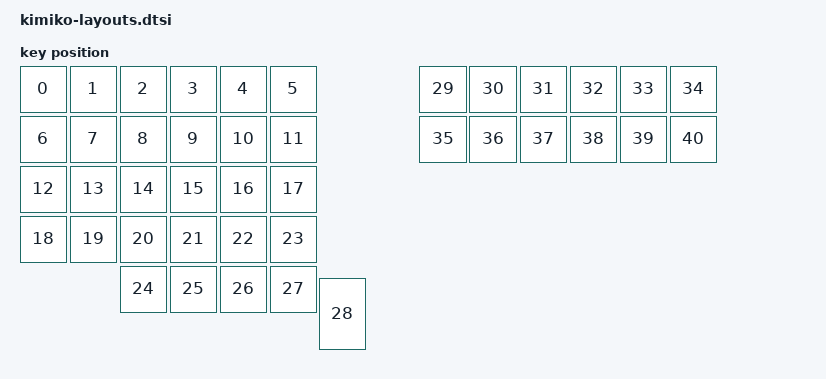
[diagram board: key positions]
#include <physical_layouts.dtsi>

/ {
    default_layout: default_layout {
        compatible = "zmk,physical-layout";
        display-name = "Kimiko Default";
        transform = <&default_transform>;
        kscan = <&kscan>;

        keys
        =
        // Left half
        <&key_physical_attrs 100 100  0    0     0 0 0>,  // 0,0
        <&key_physical_attrs 100 100  100  0     0 0 0>,  // 0,1
        <&key_physical_attrs 100 100  200  0     0 0 0>,  // 0,2
        <&key_physical_attrs 100 100  300  0     0 0 0>,  // 0,3
        <&key_physical_attrs 100 100  400  0     0 0 0>,  // 0,4
        <&key_physical_attrs 100 100  500  0     0 0 0>,  // 0,5

        <&key_physical_attrs 100 100  0    100   0 0 0>,  // 1,0
        <&key_physical_attrs 100 100  100  100   0 0 0>,  // 1,1
        <&key_physical_attrs 100 100  200  100   0 0 0>,  // 1,2
        <&key_physical_attrs 100 100  300  100   0 0 0>,  // 1,3
        <&key_physical_attrs 100 100  400  100   0 0 0>,  // 1,4
        <&key_physical_attrs 100 100  500  100   0 0 0>,  // 1,5

        <&key_physical_attrs 100 100  0    200   0 0 0>,  // 2,0
        <&key_physical_attrs 100 100  100  200   0 0 0>,  // 2,1
        <&key_physical_attrs 100 100  200  200   0 0 0>,  // 2,2
        <&key_physical_attrs 100 100  300  200   0 0 0>,  // 2,3
        <&key_physical_attrs 100 100  400  200   0 0 0>,  // 2,4
        <&key_physical_attrs 100 100  500  200   0 0 0>,  // 2,5

        <&key_physical_attrs 100 100  0    300   0 0 0>,  // 3,0
        <&key_physical_attrs 100 100  100  300   0 0 0>,  // 3,1
        <&key_physical_attrs 100 100  200  300   0 0 0>,  // 3,2
        <&key_physical_attrs 100 100  300  300   0 0 0>,  // 3,3
        <&key_physical_attrs 100 100  400  300   0 0 0>,  // 3,4
        <&key_physical_attrs 100 100  500  300   0 0 0>,  // 3,5

        <&key_physical_attrs 100 100  200  400   0 0 0>,  // 4,0
        <&key_physical_attrs 100 100  300  400   0 0 0>,  // 4,1
        <&key_physical_attrs 100 100  400  400   0 0 0>,  // 4,2
        <&key_physical_attrs 100 100  500  400   0 0 0>,  // 4,3
        <&key_physical_attrs 100 150  600  425  30 650 425>, // 4,4 thumb

        // Right half (col-offset=6 applied automatically)
        <&key_physical_attrs 100 100  800   0     0 0 0>,  // 5,5
        <&key_physical_attrs 100 100  900   0     0 0 0>,  // 5,4
        <&key_physical_attrs 100 100  1000  0     0 0 0>,  // 5,3
        <&key_physical_attrs 100 100  1100  0     0 0 0>,  // 5,2
        <&key_physical_attrs 100 100  1200  0     0 0 0>,  // 5,1
        <&key_physical_attrs 100 100  1300  0     0 0 0>,  // 5,0

        <&key_physical_attrs 100 100  800   100   0 0 0>,  // 6,5
        <&key_physical_attrs 100 100  900   100   0 0 0>,  // 6,4
        <&key_physical_attrs 100 100  1000  100   0 0 0>,  // 6,3
        <&key_physical_attrs 100 100  1100  100   0 0 0>,  // 6,2
        <&key_physical_attrs 100 100  1200  100   0 0 0>,  // 6,1
        <&key_physical_attrs 100 100  1300  100   0 0 0>;  // 6,0
    };
};
